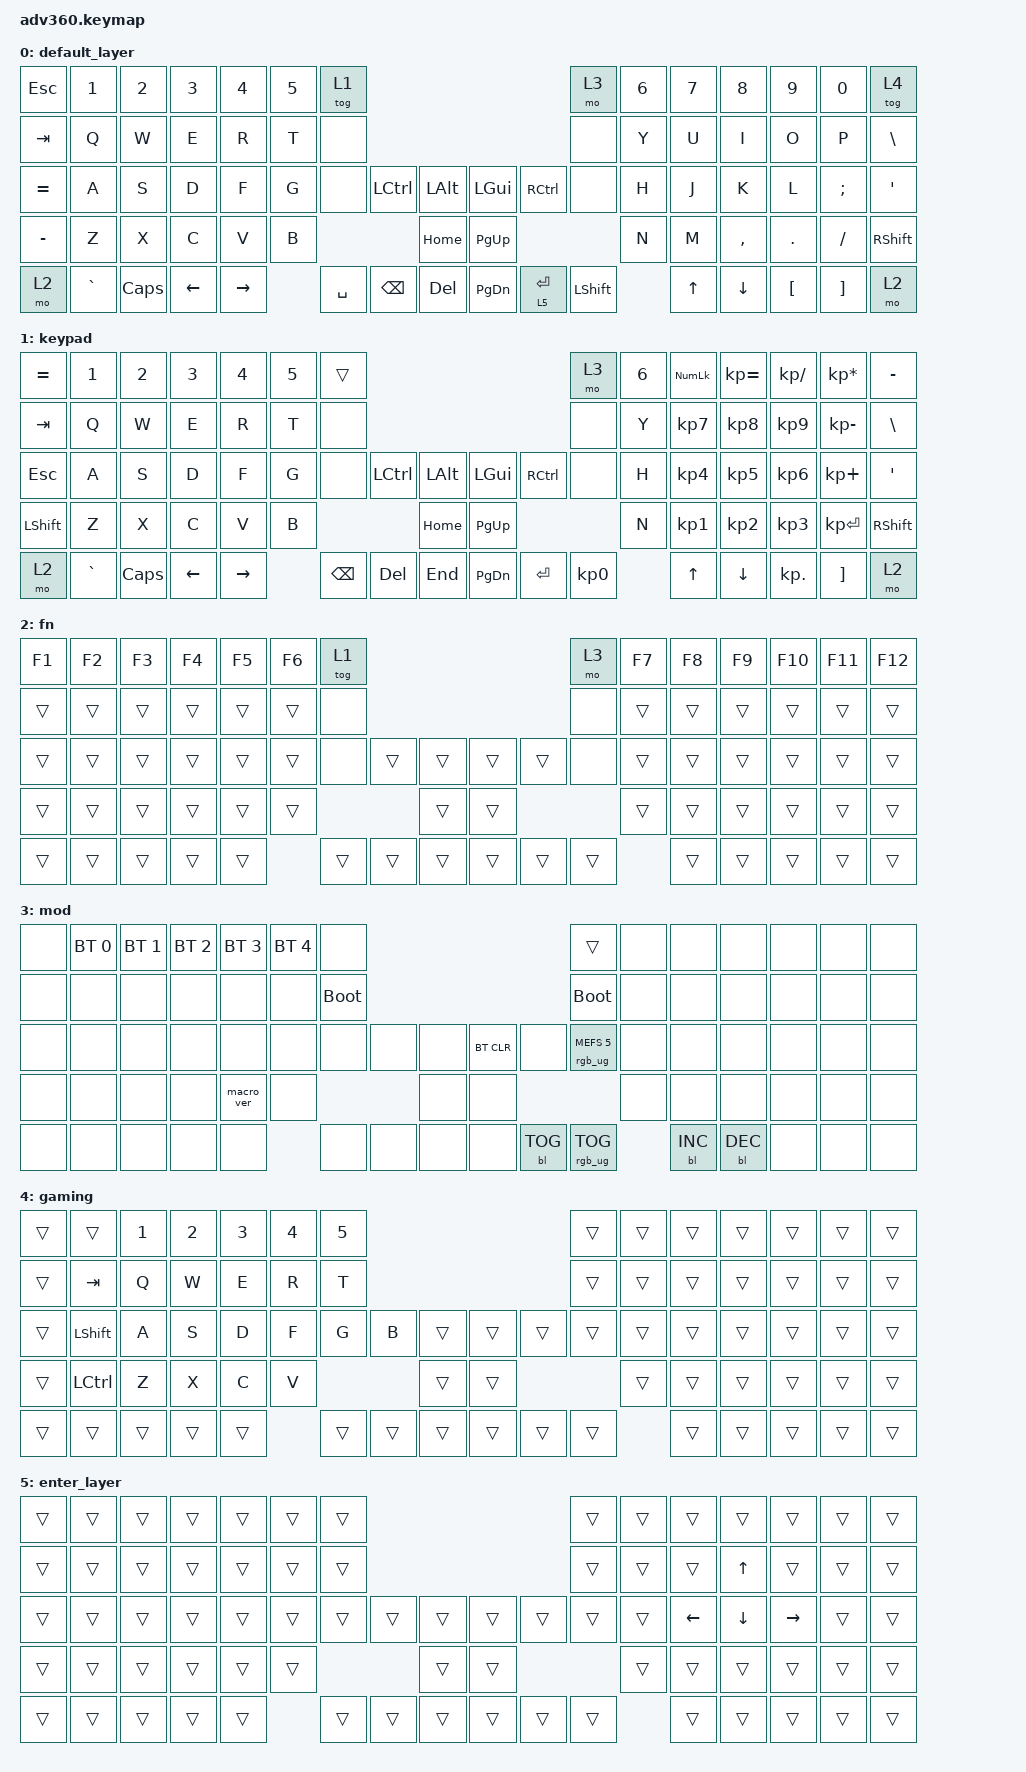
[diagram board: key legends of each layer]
#include <behaviors.dtsi>
#include <dt-bindings/zmk/backlight.h>
#include <dt-bindings/zmk/bt.h>
#include <dt-bindings/zmk/keys.h>
#include <dt-bindings/zmk/rgb.h>

/ {
    behaviors {
        #include "macros.dtsi"
      #include "version.dtsi"
      #ifndef VERSION_MACRO

        macro_ver: macro_ver {
            compatible = "zmk,behavior-macro";
            label = "macro_version";
            #binding-cells = <0>;
            bindings = <&kp RET>;
        };

        #endif

        hm: homerow_mods {
            compatible = "zmk,behavior-hold-tap";
            label = "HOMEROW_MODS";
            #binding-cells = <2>;
            tapping-term-ms = <200>;
            quick_tap_ms = <175>;
            flavor = "tap-preferred";
            bindings = <&kp>, <&kp>;
        };
    };

    macros {
        arrow_operator: arrow_operator {
            compatible = "zmk,behavior-macro";
            #binding-cells = <0>;
            bindings = <&kp MINUS &kp GT>;
        };
    };

    combos {
        compatible = "zmk,combos";

        Up {
            bindings = <&kp UP_ARROW>;
            key-positions = <24 69>;
        };

        Right {
            bindings = <&kp RIGHT>;
            key-positions = <69 43>;
        };

        Left {
            bindings = <&kp LEFT>;
            key-positions = <69 41>;
        };

        Down {
            bindings = <&kp DOWN>;
            key-positions = <69 42>;
        };
    };

    keymap {
        compatible = "zmk,keymap";

        default_layer {
            bindings = <
&kp ESC    &kp N1     &kp N2    &kp N3    &kp N4     &kp N5  &tog 1                                                            &mo 3           &kp N6  &kp N7  &kp N8     &kp N9    &kp N0    &tog 4
&kp TAB    &kp Q      &kp W     &kp E     &kp R      &kp T   &none                                                             &none           &kp Y   &kp U   &kp I      &kp O     &kp P     &kp BSLH
&kp EQUAL  &kp A      &kp S     &kp D     &kp F      &kp G   &none      &kp LCTRL      &kp LALT        &kp LGUI   &kp RCTRL    &none           &kp H   &kp J   &kp K      &kp L     &kp SEMI  &kp SQT
&kp MINUS  &kp Z      &kp X     &kp C     &kp V      &kp B                             &kp HOME        &kp PG_UP                               &kp N   &kp M   &kp COMMA  &kp DOT   &kp FSLH  &kp RSHFT
&mo 2      &kp GRAVE  &kp CAPS  &kp LEFT  &kp RIGHT          &kp SPACE  &kp BACKSPACE  &kp DELETE      &kp PG_DN  &lt 5 ENTER  &kp LEFT_SHIFT          &kp UP  &kp DOWN   &kp LBKT  &kp RBKT  &mo 2
            >;
        };

        keypad {
            bindings = <
&kp EQUAL  &kp N1     &kp N2    &kp N3    &kp N4     &kp N5  &trans                                                   &mo 3      &kp N6  &kp KP_NUM  &kp KP_EQUAL  &kp KP_DIVIDE  &kp KP_MULTIPLY  &kp MINUS
&kp TAB    &kp Q      &kp W     &kp E     &kp R      &kp T   &none                                                    &none      &kp Y   &kp KP_N7   &kp KP_N8     &kp KP_N9      &kp KP_MINUS     &kp BSLH
&kp ESC    &kp A      &kp S     &kp D     &kp F      &kp G   &none     &kp LCTRL  &kp LALT      &kp LGUI   &kp RCTRL  &none      &kp H   &kp KP_N4   &kp KP_N5     &kp KP_N6      &kp KP_PLUS      &kp SQT
&kp LSHFT  &kp Z      &kp X     &kp C     &kp V      &kp B                        &kp HOME      &kp PG_UP                        &kp N   &kp KP_N1   &kp KP_N2     &kp KP_N3      &kp KP_ENTER     &kp RSHFT
&mo 2      &kp GRAVE  &kp CAPS  &kp LEFT  &kp RIGHT          &kp BSPC  &kp DEL    &kp END       &kp PG_DN  &kp ENTER  &kp KP_N0          &kp UP      &kp DOWN      &kp KP_DOT     &kp RBKT         &mo 2
            >;
        };

        fn {
            bindings = <
&kp F1  &kp F2  &kp F3  &kp F4  &kp F5  &kp F6  &tog 1                                      &mo 3   &kp F7  &kp F8  &kp F9  &kp F10  &kp F11  &kp F12
&trans  &trans  &trans  &trans  &trans  &trans  &none                                       &none   &trans  &trans  &trans  &trans   &trans   &trans
&trans  &trans  &trans  &trans  &trans  &trans  &none   &trans  &trans      &trans  &trans  &none   &trans  &trans  &trans  &trans   &trans   &trans
&trans  &trans  &trans  &trans  &trans  &trans                  &trans      &trans                  &trans  &trans  &trans  &trans   &trans   &trans
&trans  &trans  &trans  &trans  &trans          &trans  &trans  &trans      &trans  &trans  &trans          &trans  &trans  &trans   &trans   &trans
            >;
        };

        mod {
            bindings = <
&none  &bt BT_SEL 0  &bt BT_SEL 1  &bt BT_SEL 2  &bt BT_SEL 3  &bt BT_SEL 4  &none                                                  &trans                  &none  &none       &none       &none  &none  &none
&none  &none         &none         &none         &none         &none         &bootloader                                            &bootloader             &none  &none       &none       &none  &none  &none
&none  &none         &none         &none         &none         &none         &none        &none  &none      &bt BT_CLR  &none       &rgb_ug RGB_MEFS_CMD 5  &none  &none       &none       &none  &none  &none
&none  &none         &none         &none         &macro_ver    &none                             &none      &none                                           &none  &none       &none       &none  &none  &none
&none  &none         &none         &none         &none                       &none        &none  &none      &none       &bl BL_TOG  &rgb_ug RGB_TOG                &bl BL_INC  &bl BL_DEC  &none  &none  &none
            >;
        };

        gaming {
            bindings = <
&trans  &trans            &kp NUMBER_1  &kp NUMBER_2  &kp NUMBER_3  &kp NUMBER_4  &kp NUMBER_5                                      &trans  &trans  &trans  &trans  &trans  &trans  &trans
&trans  &kp TAB           &kp Q         &kp W         &kp E         &kp R         &kp T                                             &trans  &trans  &trans  &trans  &trans  &trans  &trans
&trans  &kp LEFT_SHIFT    &kp A         &kp S         &kp D         &kp F         &kp G         &kp B   &trans      &trans  &trans  &trans  &trans  &trans  &trans  &trans  &trans  &trans
&trans  &kp LEFT_CONTROL  &kp Z         &kp X         &kp C         &kp V                               &trans      &trans                  &trans  &trans  &trans  &trans  &trans  &trans
&trans  &trans            &trans        &trans        &trans                      &trans        &trans  &trans      &trans  &trans  &trans          &trans  &trans  &trans  &trans  &trans
            >;
        };

        enter_layer {
            bindings = <
&trans  &trans  &trans  &trans  &trans  &trans  &trans                                      &trans  &trans  &trans    &trans        &trans     &trans  &trans
&trans  &trans  &trans  &trans  &trans  &trans  &trans                                      &trans  &trans  &trans    &kp UP_ARROW  &trans     &trans  &trans
&trans  &trans  &trans  &trans  &trans  &trans  &trans  &trans  &trans      &trans  &trans  &trans  &trans  &kp LEFT  &kp DOWN      &kp RIGHT  &trans  &trans
&trans  &trans  &trans  &trans  &trans  &trans                  &trans      &trans                  &trans  &trans    &trans        &trans     &trans  &trans
&trans  &trans  &trans  &trans  &trans          &trans  &trans  &trans      &trans  &trans  &trans          &trans    &trans        &trans     &trans  &trans
            >;
        };
    };
};
